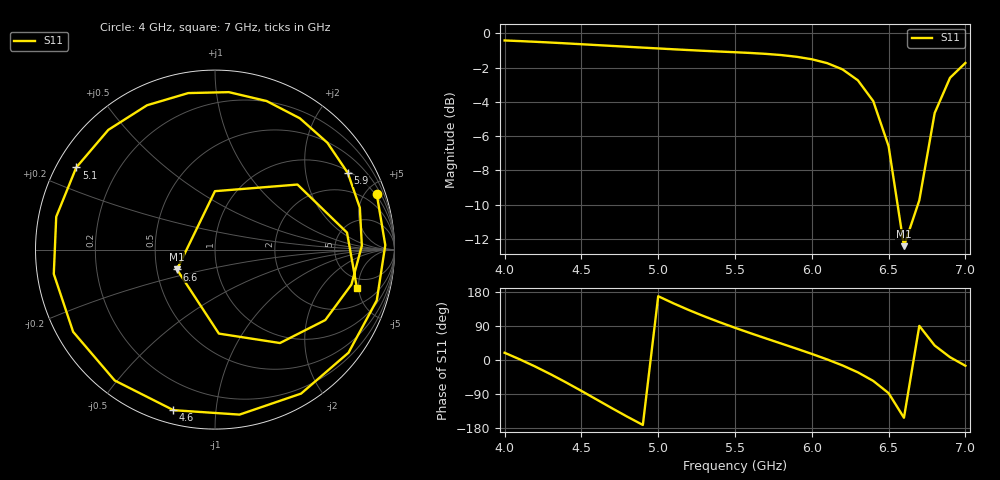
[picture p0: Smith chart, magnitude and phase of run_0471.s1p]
! Touchstone file exported from HFSS 2024.2.0
!  File:  C:/Users/wsak9/Desktop/Sim Fast/Widenad Patch/WP_AI_V1_sweep.aedt
!  Generated:  11:36:24 AM Oct 14, 2026
!  Design:  A1_model
!  Project:  WP_AI_V1_sweep
!  Setup:  Setup1
!  Solution:  Sweep
! Variables:
!  Air_gap = 4.99mm
!  Curve_Amp1 = 1.06
!  Curve_len1 = 1
!  Curve_pos = 9.51mm
!  Extra = 1.62mm
!  H_sub = 0.79mm
!  L_Patch = 15.02mm
!  L_Patch1 = 14.18mm
!  Sx = 1.65mm
!  Sy = 3.97mm
!  WS = 0.6mm
!  W_Patch = 12.24mm
!  W_Patch1 = 12.56mm
!Data is not renormalized
# GHz S MA
! Terminal data exported
! Port[1] = 1
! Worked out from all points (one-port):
!   31 points, 4 GHz to 7 GHz, reference per port
!   lowest |S11| = -12.4 dB at 6.6 GHz (marker M1), VSWR 1.63
!   |S11| at or under -10 dB: 6.558 GHz to 6.691 GHz (132.1 MHz wide, 1.99 % of centre)
!   S11 on the Smith chart (normalised r, x): 4 GHz: 0.85, +5.82; 4.6 GHz: 0.06, -0.77; 5.1 GHz: 0.06, +0.27; 5.9 GHz: 1.08, +3.42; 6.6 GHz: 0.64, -0.15; 7 GHz: 3.66, -4.78
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4  0.9531 19.1
4.1  0.9491 1.5
4.2  0.9446 -17.4
4.3  0.9398 -37.7
4.4  0.9347 -59.1
4.5  0.9294 -81.5
4.6  0.924 -104.5
4.7  0.9187 -127.5
4.8  0.9135 -149.9
4.9  0.9084 -171.4
5  0.9033 168.3
5.1  0.8983 149.4
5.2  0.8934 131.7
5.3  0.8889 115.2
5.4  0.8847 99.7
5.5  0.8806 85.0
5.7  0.871 57.1
5.9  0.8543 30.0
6.1  0.8185 1.5
6.2  0.7846 -14.4
6.3  0.7292 -32.6
6.4  0.634 -55.2
6.5  0.4685 -87.4
6.6  0.2392 -152.4
6.7  0.3255 90.0
6.8  0.5852 38.3
6.9  0.7416 7.3
7  0.8194 -15.2
